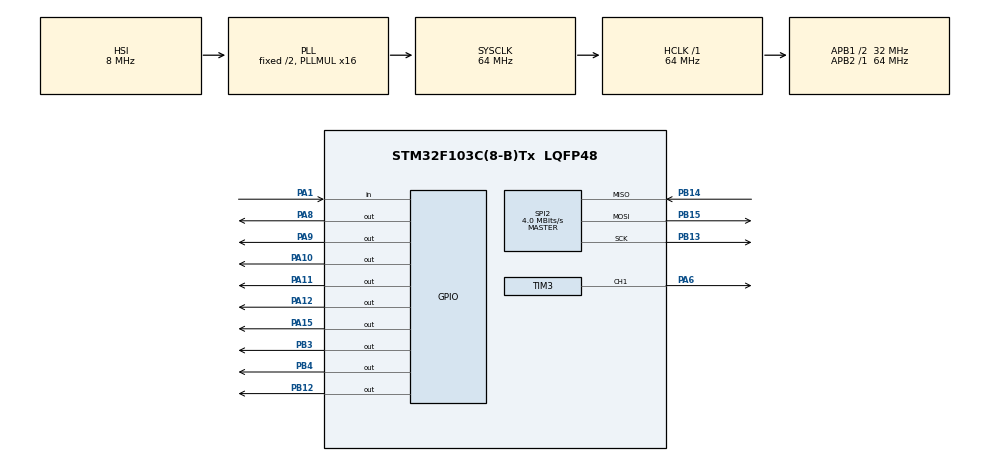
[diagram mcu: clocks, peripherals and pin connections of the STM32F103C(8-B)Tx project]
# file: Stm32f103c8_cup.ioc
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Dma.Request0=TIM3_CH1/TRIG
Dma.TIM3_CH1/TRIG.0.Direction=DMA_MEMORY_TO_PERIPH
Dma.TIM3_CH1/TRIG.0.Instance=DMA1_Channel6
Dma.TIM3_CH1/TRIG.0.MemDataAlignment=DMA_MDATAALIGN_BYTE
Dma.TIM3_CH1/TRIG.0.MemInc=DMA_MINC_ENABLE
Dma.TIM3_CH1/TRIG.0.Mode=DMA_NORMAL
Dma.TIM3_CH1/TRIG.0.PeriphDataAlignment=DMA_PDATAALIGN_WORD
Dma.TIM3_CH1/TRIG.0.PeriphInc=DMA_PINC_DISABLE
Dma.TIM3_CH1/TRIG.0.Priority=DMA_PRIORITY_VERY_HIGH
FREERTOS.Queues01=myQueue01,16,uint16_t,0,Dynamic,NULL,NULL
FREERTOS.Tasks01=LCDTask,0,128,StartLCDTask,Default,NULL,Dynamic,NULL,NULL
FREERTOS.configTOTAL_HEAP_SIZE=15360
Mcu.Family=STM32F1
Mcu.Name=STM32F103C(8-B)Tx
Mcu.Package=LQFP48
NVIC.DMA1_Channel6_IRQn=true\:5\:0\:false\:false\:true\:true\:false
NVIC.PriorityGroup=NVIC_PRIORITYGROUP_4
NVIC.TIM2_IRQn=true\:0\:0\:false\:false\:true\:false\:false
NVIC.TIM4_IRQn=true\:5\:0\:false\:false\:true\:true\:true
NVIC.TimeBase=TIM2_IRQn
NVIC.TimeBaseIP=TIM2
PA1.Signal=GPIO_Input
PA10.Signal=GPIO_Output
PA11.Signal=GPIO_Output
PA12.Signal=GPIO_Output
PA13.Mode=Serial_Wire
PA13.Signal=SYS_JTMS-SWDIO
PA14.Mode=Serial_Wire
PA14.Signal=SYS_JTCK-SWCLK
PA15.Signal=GPIO_Output
PA6.Signal=S_TIM3_CH1
PA8.Signal=GPIO_Output
PA9.Signal=GPIO_Output
PB12.Signal=GPIO_Output
PB13.Mode=Full_Duplex_Master
PB13.Signal=SPI2_SCK
PB14.Mode=Full_Duplex_Master
PB14.Signal=SPI2_MISO
PB15.Mode=Full_Duplex_Master
PB15.Signal=SPI2_MOSI
PB3.Signal=GPIO_Output
PB4.Signal=GPIO_Output
ProjectManager.HeapSize=0x200
ProjectManager.StackSize=0x400
ProjectManager.TargetToolchain=SW4STM32
RCC.AHBFreq_Value=64000000
RCC.APB1CLKDivider=RCC_HCLK_DIV2
RCC.APB1Freq_Value=32000000
RCC.APB1TimFreq_Value=64000000
RCC.APB2Freq_Value=64000000
RCC.APB2TimFreq_Value=64000000
RCC.HCLKFreq_Value=64000000
RCC.PLLMUL=RCC_PLL_MUL16
RCC.SYSCLKFreq_VALUE=64000000
RCC.SYSCLKSource=RCC_SYSCLKSOURCE_PLLCLK
RCC.USBFreq_Value=64000000
SH.S_TIM3_CH1.0=TIM3_CH1,PWM Generation1 CH1
SPI2.BaudRatePrescaler=SPI_BAUDRATEPRESCALER_8
SPI2.CalculateBaudRate=4.0 MBits/s
SPI2.Direction=SPI_DIRECTION_2LINES
SPI2.Mode=SPI_MODE_MASTER
SPI2.VirtualType=VM_MASTER
TIM3.Channel-PWM\ Generation1\ CH1=TIM_CHANNEL_1
TIM3.Period=79
TIM4.Period=7999
VP_FREERTOS_VS_ENABLE.Mode=Enabled
VP_SYS_VS_tim2.Mode=TIM2
VP_TIM3_VS_ClockSourceINT.Mode=Internal
VP_TIM4_VS_ClockSourceINT.Mode=Internal
board=custom

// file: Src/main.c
/**
  ******************************************************************************
  * @file           : main.c
  * @brief          : Main program body
  ******************************************************************************
  * This notice applies to any and all portions of this file
  * that are not between comment pairs USER CODE BEGIN and
  * USER CODE END. Other portions of this file, whether
  * inserted by the user or by software development tools
  * are owned by their respective copyright owners.
  *
  * Copyright (c) 2019 STMicroelectronics International N.V.
  * All rights reserved.
  *
  * Redistribution and use in source and binary forms, with or without
  * modification, are permitted, provided that the following conditions are met:
  *
  * 1. Redistribution of source code must retain the above copyright notice,
  *    this list of conditions and the following disclaimer.
  * 2. Redistributions in binary form must reproduce the above copyright notice,
  *    this list of conditions and the following disclaimer in the documentation
  *    and/or other materials provided with the distribution.
  * 3. Neither the name of STMicroelectronics nor the names of other
  *    contributors to this software may be used to endorse or promote products
  *    derived from this software without specific written permission.
  * 4. This software, including modifications and/or derivative works of this
  *    software, must execute solely and exclusively on microcontroller or
  *    microprocessor devices manufactured by or for STMicroelectronics.
  * 5. Redistribution and use of this software other than as permitted under
  *    this license is void and will automatically terminate your rights under
  *    this license.
  *
  * THIS SOFTWARE IS PROVIDED BY STMICROELECTRONICS AND CONTRIBUTORS "AS IS"
  * AND ANY EXPRESS, IMPLIED OR STATUTORY WARRANTIES, INCLUDING, BUT NOT
  * LIMITED TO, THE IMPLIED WARRANTIES OF MERCHANTABILITY, FITNESS FOR A
  * PARTICULAR PURPOSE AND NON-INFRINGEMENT OF THIRD PARTY INTELLECTUAL PROPERTY
  * RIGHTS ARE DISCLAIMED TO THE FULLEST EXTENT PERMITTED BY LAW. IN NO EVENT
  * SHALL STMICROELECTRONICS OR CONTRIBUTORS BE LIABLE FOR ANY DIRECT, INDIRECT,
  * INCIDENTAL, SPECIAL, EXEMPLARY, OR CONSEQUENTIAL DAMAGES (INCLUDING, BUT NOT
  * LIMITED TO, PROCUREMENT OF SUBSTITUTE GOODS OR SERVICES; LOSS OF USE, DATA,
  * OR PROFITS; OR BUSINESS INTERRUPTION) HOWEVER CAUSED AND ON ANY THEORY OF
  * LIABILITY, WHETHER IN CONTRACT, STRICT LIABILITY, OR TORT (INCLUDING
  * NEGLIGENCE OR OTHERWISE) ARISING IN ANY WAY OUT OF THE USE OF THIS SOFTWARE,
  * EVEN IF ADVISED OF THE POSSIBILITY OF SUCH DAMAGE.
  *
  ******************************************************************************
  */
#include "main.h"
#include "stm32f1xx_hal.h"
#include "cmsis_os.h"
#include "dma.h"
#include "spi.h"
#include "tim.h"
#include "gpio.h"

/* USER CODE BEGIN Includes */
#include "defines.h"

#ifdef WS2812B_ENABLE
#include "ws2812b.h"
#endif

#ifdef LCD_ENABLE
#include "tm_stm32_hd44780.h"
#endif

#ifdef AUDIO_ENABLE
#include "audio.h"
#endif

#ifdef LED_MATRIX_ENABLE
#include "max7219.h"
#endif
/* USER CODE END Includes */

/* USER CODE BEGIN PV */
/* Private variables ---------------------------------------------------------*/

/* USER CODE END PV */

void SystemClock_Config(void);
void MX_FREERTOS_Init(void);

/* USER CODE BEGIN PFP */
/* Private function prototypes -----------------------------------------------*/

/* USER CODE END PFP */

int main(void)
{

  /* MCU Configuration----------------------------------------------------------*/

  /* Reset of all peripherals, Initializes the Flash interface and the Systick. */
  HAL_Init();

  /* Configure the system clock */
  SystemClock_Config();

  /* Initialize all configured peripherals */
  MX_GPIO_Init();
  MX_DMA_Init();
  MX_SPI2_Init();
  MX_TIM3_Init();
  MX_TIM4_Init();
  /* USER CODE BEGIN 2 */
#ifdef LCD_ENABLE
	TM_HD44780_Init(LENGTH_OF_LINE_LCD, NUMBER_OF_LINES_LCD);
#endif

#ifdef AUDIO_ENABLE
	SpeexInit();
#endif
  /* USER CODE END 2 */

  /* Call init function for freertos objects (in freertos.c) */
  MX_FREERTOS_Init();

  /* Start scheduler */
  osKernelStart();

  /* We should never get here as control is now taken by the scheduler */

  /* Infinite loop */
  while (1)
  {

  }

}

void SystemClock_Config(void)
{

  RCC_OscInitTypeDef RCC_OscInitStruct;
  RCC_ClkInitTypeDef RCC_ClkInitStruct;

    /**Initializes the CPU, AHB and APB busses clocks
    */
  RCC_OscInitStruct.OscillatorType = RCC_OSCILLATORTYPE_HSI;
  RCC_OscInitStruct.HSIState = RCC_HSI_ON;
  RCC_OscInitStruct.HSICalibrationValue = 16;
  RCC_OscInitStruct.PLL.PLLState = RCC_PLL_ON;
  RCC_OscInitStruct.PLL.PLLSource = RCC_PLLSOURCE_HSI_DIV2;
  RCC_OscInitStruct.PLL.PLLMUL = RCC_PLL_MUL16;
  if (HAL_RCC_OscConfig(&RCC_OscInitStruct) != HAL_OK)
  {
    _Error_Handler(__FILE__, __LINE__);
  }

    /**Initializes the CPU, AHB and APB busses clocks
    */
  RCC_ClkInitStruct.ClockType = RCC_CLOCKTYPE_HCLK|RCC_CLOCKTYPE_SYSCLK
                              |RCC_CLOCKTYPE_PCLK1|RCC_CLOCKTYPE_PCLK2;
  RCC_ClkInitStruct.SYSCLKSource = RCC_SYSCLKSOURCE_PLLCLK;
  RCC_ClkInitStruct.AHBCLKDivider = RCC_SYSCLK_DIV1;
  RCC_ClkInitStruct.APB1CLKDivider = RCC_HCLK_DIV2;
  RCC_ClkInitStruct.APB2CLKDivider = RCC_HCLK_DIV1;

  if (HAL_RCC_ClockConfig(&RCC_ClkInitStruct, FLASH_LATENCY_2) != HAL_OK)
  {
    _Error_Handler(__FILE__, __LINE__);
  }

    /**Configure the Systick interrupt time
    */
  HAL_SYSTICK_Config(HAL_RCC_GetHCLKFreq()/1000);

    /**Configure the Systick
    */
  HAL_SYSTICK_CLKSourceConfig(SYSTICK_CLKSOURCE_HCLK);

  /* SysTick_IRQn interrupt configuration */
  HAL_NVIC_SetPriority(SysTick_IRQn, 15, 0);
}

void HAL_TIM_PeriodElapsedCallback(TIM_HandleTypeDef *htim)
{
  if (htim->Instance == TIM2) {
    HAL_IncTick();
  }
}

void _Error_Handler(char *file, int line)
{
  while(1)
  {
  }
}

/************************ (C) COPYRIGHT STMicroelectronics *****END OF FILE****/

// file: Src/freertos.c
/* USER CODE BEGIN Header */
/**
 ******************************************************************************
 * File Name          : freertos.c
 * Description        : Code for freertos applications
 ******************************************************************************
 * This notice applies to any and all portions of this file
 * that are not between comment pairs USER CODE BEGIN and
 * USER CODE END. Other portions of this file, whether
 * inserted by the user or by software development tools
 * are owned by their respective copyright owners.
 *
 * Copyright (c) 2018 STMicroelectronics International N.V.
 * All rights reserved.
 *
 * Redistribution and use in source and binary forms, with or without
 * modification, are permitted, provided that the following conditions are met:
 *
 * 1. Redistribution of source code must retain the above copyright notice,
 *    this list of conditions and the following disclaimer.
 * 2. Redistributions in binary form must reproduce the above copyright notice,
 *    this list of conditions and the following disclaimer in the documentation
 *    and/or other materials provided with the distribution.
 * 3. Neither the name of STMicroelectronics nor the names of other
 *    contributors to this software may be used to endorse or promote products
 *    derived from this software without specific written permission.
 * 4. This software, including modifications and/or derivative works of this
 *    software, must execute solely and exclusively on microcontroller or
 *    microprocessor devices manufactured by or for STMicroelectronics.
 * 5. Redistribution and use of this software other than as permitted under
 *    this license is void and will automatically terminate your rights under
 *    this license.
 *
 * THIS SOFTWARE IS PROVIDED BY STMICROELECTRONICS AND CONTRIBUTORS "AS IS"
 * AND ANY EXPRESS, IMPLIED OR STATUTORY WARRANTIES, INCLUDING, BUT NOT
 * LIMITED TO, THE IMPLIED WARRANTIES OF MERCHANTABILITY, FITNESS FOR A
 * PARTICULAR PURPOSE AND NON-INFRINGEMENT OF THIRD PARTY INTELLECTUAL PROPERTY
 * RIGHTS ARE DISCLAIMED TO THE FULLEST EXTENT PERMITTED BY LAW. IN NO EVENT
 * SHALL STMICROELECTRONICS OR CONTRIBUTORS BE LIABLE FOR ANY DIRECT, INDIRECT,
 * INCIDENTAL, SPECIAL, EXEMPLARY, OR CONSEQUENTIAL DAMAGES (INCLUDING, BUT NOT
 * LIMITED TO, PROCUREMENT OF SUBSTITUTE GOODS OR SERVICES; LOSS OF USE, DATA,
 * OR PROFITS; OR BUSINESS INTERRUPTION) HOWEVER CAUSED AND ON ANY THEORY OF
 * LIABILITY, WHETHER IN CONTRACT, STRICT LIABILITY, OR TORT (INCLUDING
 * NEGLIGENCE OR OTHERWISE) ARISING IN ANY WAY OUT OF THE USE OF THIS SOFTWARE,
 * EVEN IF ADVISED OF THE POSSIBILITY OF SUCH DAMAGE.
 *
 ******************************************************************************
 */
/* USER CODE END Header */

#include "FreeRTOS.h"
#include "task.h"
#include "main.h"
#include "cmsis_os.h"

/* USER CODE BEGIN Includes */
#include "defines.h"
#include "STM32_EEPROM_SPI.h"

#ifdef WS2812B_ENABLE
#include "ws2812b.h"
#endif

#ifdef LCD_ENABLE
#include "tm_stm32_hd44780.h"
#endif

#ifdef AUDIO_ENABLE
#include "audio.h"
#include "spx.h"

#endif

#ifdef LED_MATRIX_ENABLE
#include "max7219.h"
#endif
/* USER CODE END Includes */

/* USER CODE BEGIN PM */

// Режим работы кубка. 0-нормальная работа, 1-демо режим, 2-режим обновления
extern uint8_t systemMode;
uint8_t playSound = 0;
/* USER CODE END PM */

/* USER CODE BEGIN Variables */
osThreadId RGBws2812bHandle;
osThreadId AudioMessageHandle;
osThreadId ButtonHandle;
extern uint8_t eightbit[766][3];
extern TIM_HandleTypeDef htim4;

osSemaphoreId chipSelectSemHandle;

extern const uint16_t spx_frames2;
extern const uint8_t spx_voice2[2820];

/* USER CODE END Variables */
osThreadId LCDTaskHandle;
osMessageQId myQueue01Handle;

/* USER CODE BEGIN FunctionPrototypes */
#ifdef WS2812B_ENABLE
void StartRGBws2812bTask(void const * argument);
#endif

#ifdef AUDIO_ENABLE
void StartAudioMessageTask(void const * argument);
#endif

void StartButtonTask(void const * argument);
/* USER CODE END FunctionPrototypes */

void StartLCDTask(void const * argument);

void MX_FREERTOS_Init(void); /* (MISRA C 2004 rule 8.1) */

void MX_FREERTOS_Init(void) {

  /* USER CODE BEGIN RTOS_SEMAPHORES */
	/* add semaphores, ... */
	osSemaphoreDef(chipSelectSem);
	chipSelectSemHandle = osSemaphoreCreate(osSemaphore(chipSelectSem), 1);
  /* USER CODE END RTOS_SEMAPHORES */

  /* Create the thread(s) */
  /* definition and creation of LCDTask */
  osThreadDef(LCDTask, StartLCDTask, osPriorityNormal, 0, 128);
  LCDTaskHandle = osThreadCreate(osThread(LCDTask), NULL);

  /* USER CODE BEGIN RTOS_THREADS */
	/* add threads, ... */
  osThreadDef(Button, StartButtonTask, osPriorityNormal, 0, 256);
  ButtonHandle = osThreadCreate(osThread(Button), NULL);

#ifdef	WS2812B_ENABLE
	/* definition and creation of RGBws2812b */
	osThreadDef(RGBws2812b, StartRGBws2812bTask, osPriorityNormal, 0, 512);
	RGBws2812bHandle = osThreadCreate(osThread(RGBws2812b), NULL);
#endif

#ifdef	AUDIO_ENABLE
	/* definition and creation of AudioMessage */
	osThreadDef(AudioMessage, StartAudioMessageTask, osPriorityNormal, 0, 256);
	AudioMessageHandle = osThreadCreate(osThread(AudioMessage), NULL);
#endif

  /* USER CODE END RTOS_THREADS */

  /* Create the queue(s) */
  /* definition and creation of myQueue01 */
/* what about the sizeof here??? cd native code */
  osMessageQDef(myQueue01, 16, uint16_t);
  myQueue01Handle = osMessageCreate(osMessageQ(myQueue01), NULL);

}

void StartLCDTask(void const * argument)
{

  /* USER CODE BEGIN StartLCDTask */
	/* Infinite loop */
	for (;;) {
#ifndef LCD_ENABLE
		vTaskSusped(NULL);
#endif
#ifdef LCD_ENABLE	// Вывод сообщения на дисплей

		TM_HD44780_Clear();
		TM_HD44780_Puts(0, 0, (uint8_t*) "Team N", strlen("Team N"));
		TM_HD44780_Puts(0, 1, (uint8_t*) "Member n1", strlen("Member n1"));
		osDelay(5000);
		TM_HD44780_Clear();
		TM_HD44780_Puts(0, 0, (uint8_t*) "Team N", strlen("Team N"));
		TM_HD44780_Puts(0, 1, (uint8_t*) "Member n2", strlen("Member n2"));
		osDelay(5000);

#endif
	}
  /* USER CODE END StartLCDTask */
}

/* USER CODE BEGIN Application */
/* StartButtonTask function */
void StartButtonTask(void const * argument)		//задача для опрашивания кнопки
{
	// Создаем счётчик для фиксации времени нажатия кнопки
	uint8_t pressTime;
	uint8_t col = 64;

	for(;;)
	{
		if(AntiContactBounce(BUTTON_GPIO_PORT, BUTTON_GPIO_PIN))	//против дребезга контактов
		{
			pressTime = 1;
			// Крутим счётчик до тех пор пока зажата кнопка или
			// значение счётчика меньше 255
			while((BUTTON_GPIO_PORT->IDR & BUTTON_GPIO_PIN)&&(pressTime != 255))
			{
				osDelay(100);
				pressTime++;
			}
			// Если было одно нажатие, то выключаем светодиоды на 1с
			if((pressTime <= 30)&&(pressTime >= 1))
			{
				WS2812_send_group(0, 0, 0,
						0, 0, 0,
						0, 0, 0,
						0, 0, 0);

				osDelay(1000);
				WS2812_send_group(col, 0, 0,
								  0, col, 0,
								  col/2, 0, col/2,
								  0, 0, col);
			}
		}
		osDelay(10);
	}
	/* USER CODE END StartButtonTask */
}

/* USER CODE BEGIN Application */
#ifdef WS2812B_ENABLE
/* StartRGBws2812bTask function */
void StartRGBws2812bTask(void const * argument) {	//задача для управления светодиодами
	/* USER CODE BEGIN StartRGBws2812bTask */
	uint8_t col = 64; //величина яркости одного светодиода (макс = 255)
	WS2812_send_group(col, 0, 0,	//отправка цветов светодиодов по 4м группам
					  0, col, 0,
					  col/2, 0, col/2,
					  0, 0, col);
	/* Infinite loop */
	for (;;) {

	}
	/* USER CODE END StartRGBws2812bTask */
}
#endif

#ifdef AUDIO_ENABLE

void StartAudioMessageTask(void const * argument)	//задача для проигрывания аудио-сообщения
{
	//Для записи сообщения в eeprom
	//EEPROM_SPI_WriteBuffer((uint8_t*)&spx_voice2[0], (uint16_t)0x01, (uint16_t)(sizeof(spx_voice2)));
	for(;;)
	{
		// Включаем прерывания по таймеру
		HAL_TIM_Base_Start_IT(&htim4);
		// Начинаем проигрывать запись
		PlayMessageFromEEPROM();	//из eeprom
		//PlayMessage(spx_voice2, spx_frames2);	//из .h файла
		// Выключаем прерывания по таймеру
		HAL_TIM_Base_Stop_IT(&htim4);
		osDelay(5000);
	}
}
#endif

/* USER CODE END Application */

/************************ (C) COPYRIGHT STMicroelectronics *****END OF FILE****/
